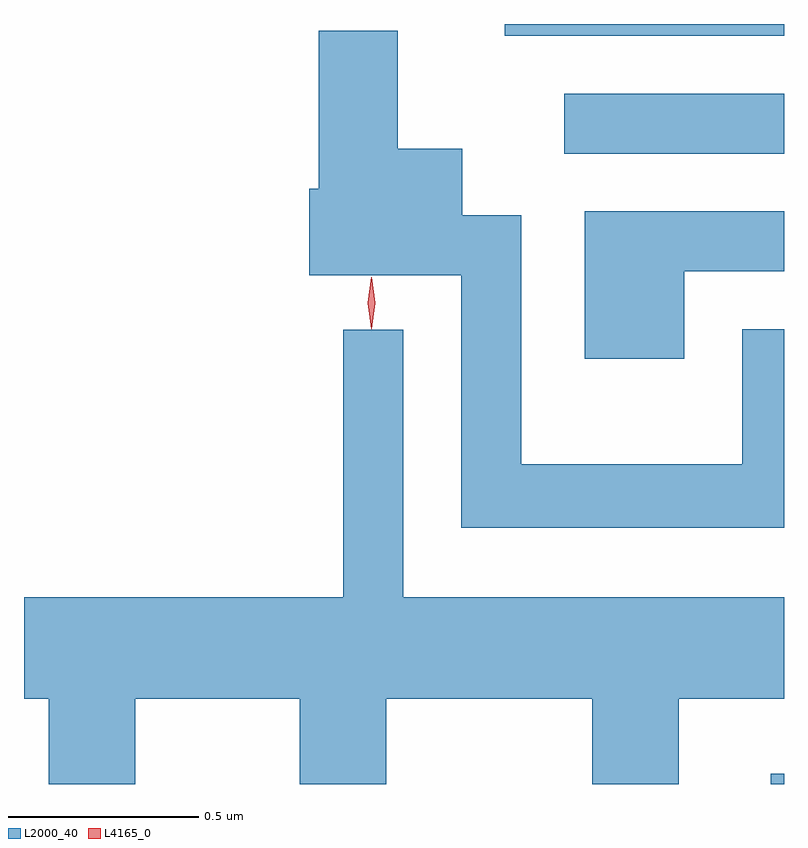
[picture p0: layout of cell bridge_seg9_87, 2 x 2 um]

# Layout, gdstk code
import gdstk
lib = gdstk.Library(unit=1e-6, precision=1e-09)
def R(c, l, rs):  # rectangles x0, y0, x1, y1
    for r in rs: c.add(gdstk.rectangle(r[:2], r[2:], *l))
def P(c, l, *ps):  # polygons
    for p in ps: c.add(gdstk.Polygon(p, *l))
L2000_40 = (2000, 40)
L4165_0 = (4165, 0)

bridge_seg9_87 = lib.new_cell('bridge_seg9_87')
R(bridge_seg9_87, L2000_40, [(1807.111,1989.372,1807.146,1989.399), (1806.568,1991.031,1807.146,1991.189), (1806.411,1991.341,1807.146,1991.372)])
P(bridge_seg9_87, L2000_40, [(1807.146,1990.569),(1807.036,1990.569),(1807.036,1990.214),(1806.454,1990.214),(1806.454,1990.869),(1806.299,1990.869),(1806.299,1991.044),(1806.129,1991.044),(1806.129,1991.354),(1805.921,1991.354),(1805.921,1990.939),(1805.896,1990.939),(1805.896,1990.711),(1806.296,1990.711),(1806.296,1990.046),(1807.146,1990.046)],
  [(1806.884,1990.721),(1807.146,1990.721),(1807.146,1990.879),(1806.621,1990.879),(1806.621,1990.491),(1806.884,1990.491)],
  [(1805.439,1989.596),(1805.871,1989.596),(1805.871,1989.372),(1806.099,1989.372),(1806.099,1989.596),(1806.641,1989.596),(1806.641,1989.372),(1806.869,1989.372),(1806.869,1989.596),(1807.146,1989.596),(1807.146,1989.864),(1806.144,1989.864),(1806.144,1990.568),(1805.986,1990.568),(1805.986,1989.864),(1805.146,1989.864),(1805.146,1989.596),(1805.211,1989.596),(1805.211,1989.372),(1805.439,1989.372)])
P(bridge_seg9_87, L4165_0, [(1806.061,1990.569),(1806.06,1990.57),(1806.051,1990.638),(1806.06,1990.706),(1806.06,1990.706),(1806.061,1990.706),(1806.07,1990.638),(1806.061,1990.57)],
  [(1806.061,1990.572),(1806.06,1990.573),(1806.05,1990.637),(1806.06,1990.702),(1806.06,1990.702),(1806.061,1990.702),(1806.07,1990.637),(1806.061,1990.573)])

lib.write_gds('bridge_seg9_87.gds')
